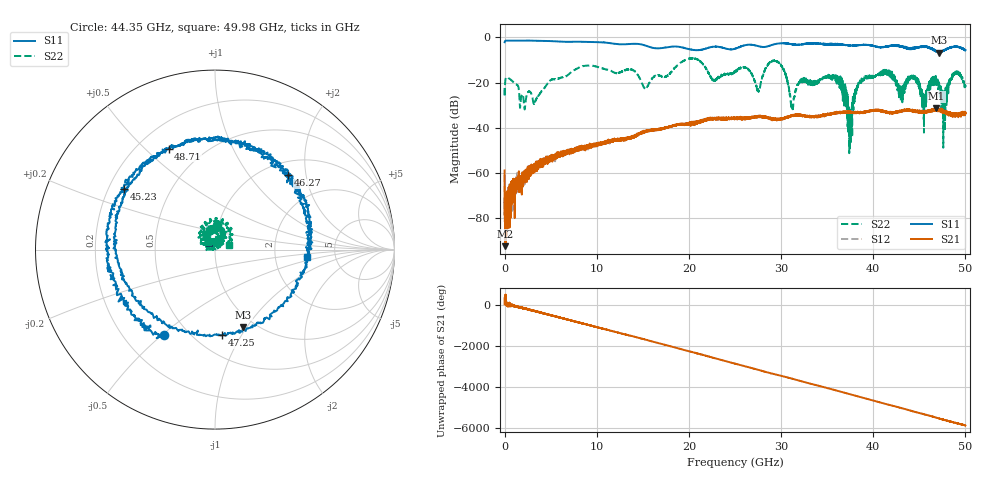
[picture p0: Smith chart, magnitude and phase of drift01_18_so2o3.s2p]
!Created with skrf (http://scikit-rf.org).
# Hz S RI R 50.0
!freq ReS11 ImS11 ReS21 ImS21 ReS12 ImS12 ReS22 ImS22
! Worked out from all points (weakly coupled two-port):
!   10001 points, 300 kHz to 50 GHz, reference 50 ohm
!   highest |S21| = -31.47 dB at 46.84 GHz (marker M1); lowest = -92.5 dB at 65.3 MHz (marker M2)
!   lowest |S11| = -6.8 dB at 47.15 GHz (marker M3), VSWR 2.70, Z = 44 - j48.2 ohm
!   |S11| at or under -10 dB: nowhere
!   |S22| runs from -51.3 to -9.2 dB; largest |S21 - S12| = 0.004
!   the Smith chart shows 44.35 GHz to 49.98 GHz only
!   S11 on the Smith chart (normalised r, x): 44.35 GHz: 0.37, -0.51; 45.23 GHz: 0.26, +0.28; 46.27 GHz: 1.27, +1.58; 47.25 GHz: 0.67, -0.83; 48.71 GHz: 0.32, +0.59; 49.98 GHz: 3.06, -0.33
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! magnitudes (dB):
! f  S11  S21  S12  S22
! 300 kHz  -2.1  -59.0  -61.1  -22.4
! 65.3 MHz  -1.6  -92.5  -75.2  -19.4
! 3.29 GHz  -1.5  -58.6  -55.8  -28.9
! 8.335 GHz  -1.9  -49.4  -49.2  -12.9
! 16.67 GHz  -4.9  -40.7  -40.6  -16.7
! 25 GHz  -5.0  -35.9  -35.9  -15.4
! 29.58 GHz  -2.8  -36.2  -36.2  -10.5
! 31.23 GHz  -3.1  -34.6  -34.5  -31.3
! 33.34 GHz  -2.6  -35.1  -35.1  -19.8
! 36.22 GHz  -3.1  -33.3  -33.4  -20.1
! 37.47 GHz  -3.6  -33.2  -33.1  -34.6
! 38.64 GHz  -3.4  -33.2  -33.4  -20.0
! 41.67 GHz  -3.9  -33.2  -33.3  -15.8
! 44.35 GHz  -5.1  -32.5  -32.7  -17.1
! 45.23 GHz  -4.3  -33.2  -32.8  -23.4
! 46.27 GHz  -4.7  -32.3  -32.2  -17.9
! 46.84 GHz  -6.1  -31.5  -32.0  -19.7
! 47.15 GHz  -6.8  -32.0  -31.9  -20.2
! 47.25 GHz  -6.4  -32.1  -32.0  -26.3
! 48.71 GHz  -4.2  -34.4  -34.2  -15.9
! 49.98 GHz  -5.8  -33.8  -33.3  -21.7
! 50 GHz  -5.6  -33.4  -33.7  -22.1
